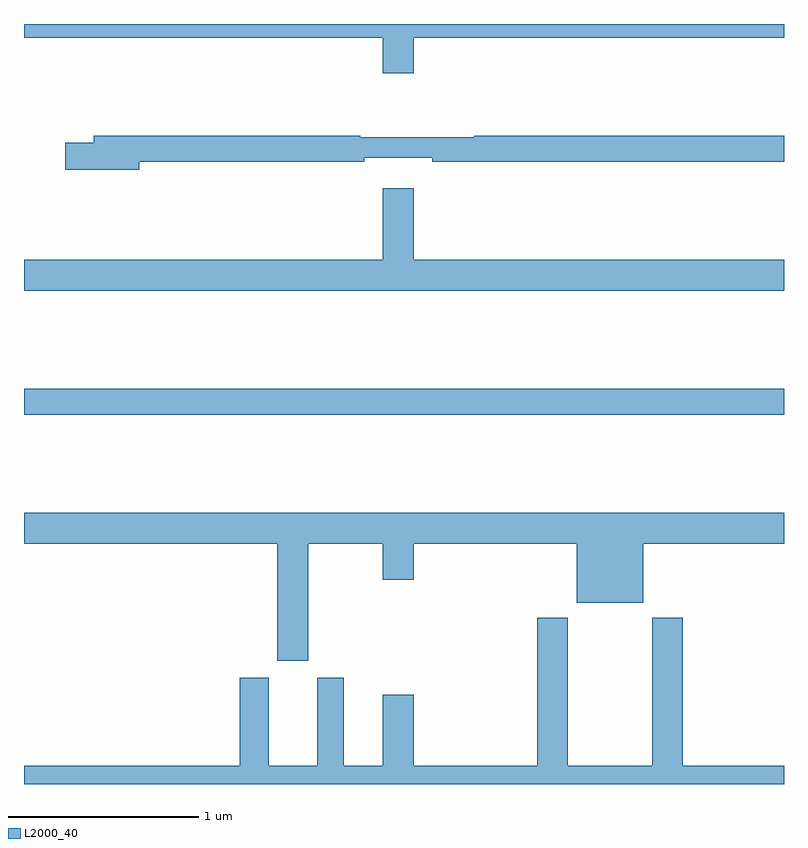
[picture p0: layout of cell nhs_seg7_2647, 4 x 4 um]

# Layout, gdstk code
import gdstk
lib = gdstk.Library(unit=1e-6, precision=1e-09)
def R(c, l, rs):  # rectangles x0, y0, x1, y1
    for r in rs: c.add(gdstk.rectangle(r[:2], r[2:], *l))
def P(c, l, *ps):  # polygons
    for p in ps: c.add(gdstk.Polygon(p, *l))
L2000_40 = (2000, 40)

nhs_seg7_2647 = lib.new_cell('nhs_seg7_2647')
R(nhs_seg7_2647, L2000_40, [(283,1019.944,287,1020.08)])
P(nhs_seg7_2647, L2000_40, [(285.052,1021.928),(287,1021.928),(287,1022),(283,1022),(283,1021.928),(284.888,1021.928),(284.888,1021.74),(285.052,1021.74)],
  [(283.606,1021.276),(284.792,1021.276),(284.792,1021.295),(285.148,1021.295),(285.148,1021.276),(287,1021.276),(287,1021.412),(285.371,1021.412),(285.371,1021.405),(284.771,1021.405),(284.771,1021.412),(283.367,1021.412),(283.367,1021.376),(283.218,1021.376),(283.218,1021.234),(283.606,1021.234)],
  [(284.888,1021.135),(284.888,1020.76),(283,1020.76),(283,1020.596),(287,1020.596),(287,1020.76),(285.052,1020.76),(285.052,1021.135)],
  [(284.497,1019.264),(284.888,1019.264),(284.888,1019.076),(285.052,1019.076),(285.052,1019.264),(285.908,1019.264),(285.908,1018.955),(286.258,1018.955),(286.258,1019.264),(287,1019.264),(287,1019.428),(283,1019.428),(283,1019.264),(284.333,1019.264),(284.333,1018.65),(284.497,1018.65)],
  [(287,1018.096),(286.466,1018.096),(286.466,1018.876),(286.306,1018.876),(286.306,1018.096),(285.861,1018.096),(285.861,1018.876),(285.701,1018.876),(285.701,1018.096),(285.052,1018.096),(285.052,1018.471),(284.888,1018.471),(284.888,1018.096),(284.683,1018.096),(284.683,1018.558),(284.543,1018.558),(284.543,1018.096),(284.287,1018.096),(284.287,1018.558),(284.135,1018.558),(284.135,1018.096),(283,1018.096),(283,1018),(287,1018)])

lib.write_gds('nhs_seg7_2647.gds')
